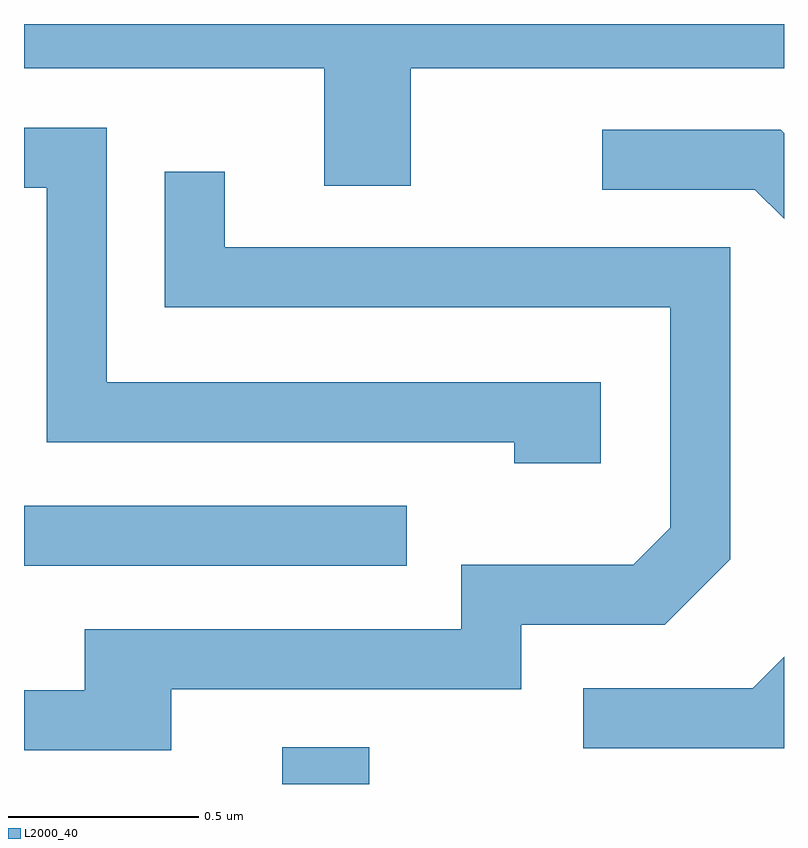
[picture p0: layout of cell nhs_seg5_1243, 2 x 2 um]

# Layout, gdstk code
import gdstk
lib = gdstk.Library(unit=1e-6, precision=1e-09)
def R(c, l, rs):  # rectangles x0, y0, x1, y1
    for r in rs: c.add(gdstk.rectangle(r[:2], r[2:], *l))
def P(c, l, *ps):  # polygons
    for p in ps: c.add(gdstk.Polygon(p, *l))
L2000_40 = (2000, 40)

nhs_seg5_1243 = lib.new_cell('nhs_seg5_1243')
R(nhs_seg5_1243, L2000_40, [(195.291,1406.072,195.519,1406.169), (194.611,1406.646,195.618,1406.804)])
P(nhs_seg5_1243, L2000_40, [(195.629,1407.956),(196.611,1407.956),(196.611,1408.072),(194.611,1408.072),(194.611,1407.956),(195.401,1407.956),(195.401,1407.646),(195.629,1407.646)],
  [(196.129,1407.129),(194.829,1407.129),(194.829,1407.799),(194.611,1407.799),(194.611,1407.641),(194.671,1407.641),(194.671,1406.971),(195.901,1406.971),(195.901,1406.916),(196.129,1406.916)],
  [(196.611,1407.785),(196.602,1407.794),(196.133,1407.794),(196.133,1407.636),(196.534,1407.636),(196.611,1407.559)],
  [(194.999,1406.321),(195.919,1406.321),(195.919,1406.491),(196.297,1406.491),(196.469,1406.664),(196.469,1407.484),(195.139,1407.484),(195.139,1407.683),(194.981,1407.683),(194.981,1407.326),(196.311,1407.326),(196.311,1406.747),(196.214,1406.649),(195.761,1406.649),(195.761,1406.479),(194.771,1406.479),(194.771,1406.319),(194.611,1406.319),(194.611,1406.161),(194.999,1406.161)],
  [(196.611,1406.407),(196.529,1406.324),(196.083,1406.324),(196.083,1406.166),(196.611,1406.166)])

lib.write_gds('nhs_seg5_1243.gds')
